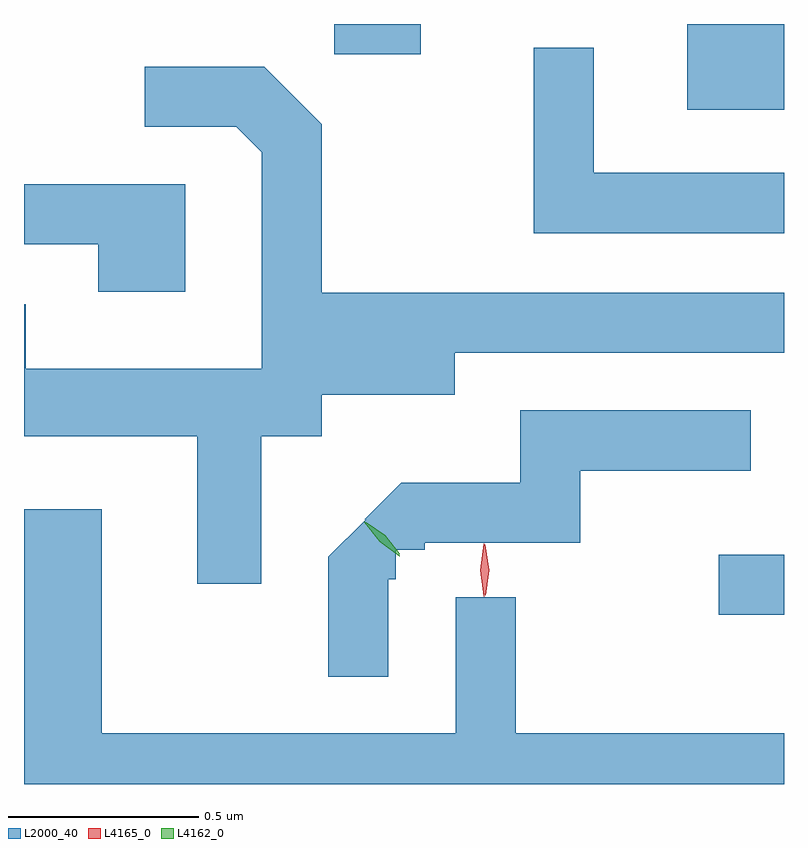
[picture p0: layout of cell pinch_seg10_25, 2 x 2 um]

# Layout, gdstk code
import gdstk
lib = gdstk.Library(unit=1e-6, precision=1e-09)
def R(c, l, rs):  # rectangles x0, y0, x1, y1
    for r in rs: c.add(gdstk.rectangle(r[:2], r[2:], *l))
def P(c, l, *ps):  # polygons
    for p in ps: c.add(gdstk.Polygon(p, *l))
L2000_40 = (2000, 40)
L4162_0 = (4162, 0)
L4165_0 = (4165, 0)

pinch_seg10_25 = lib.new_cell('pinch_seg10_25')
R(pinch_seg10_25, L2000_40, [(832.653,2165.556,832.825,2165.714), (832.571,2166.886,832.825,2167.111), (831.641,2167.031,831.869,2167.111)])
P(pinch_seg10_25, L2000_40, [(832.825,2166.719),(832.324,2166.719),(832.324,2167.048),(832.166,2167.048),(832.166,2166.561),(832.825,2166.561)],
  [(831.449,2166.026),(831.609,2166.026),(831.609,2166.136),(831.959,2166.136),(831.959,2166.246),(832.825,2166.246),(832.825,2166.404),(831.609,2166.404),(831.609,2166.847),(831.457,2166.999),(831.143,2166.999),(831.143,2166.841),(831.384,2166.841),(831.451,2166.774),(831.451,2166.204),(830.829,2166.204),(830.829,2166.374),(830.825,2166.374),(830.825,2166.026),(831.281,2166.026),(831.281,2165.638),(831.449,2165.638)],
  [(831.249,2166.689),(830.825,2166.689),(830.825,2166.531),(831.021,2166.531),(831.021,2166.406),(831.249,2166.406)],
  [(831.784,2165.65),(831.803,2165.65),(831.803,2165.728),(831.88,2165.728),(831.88,2165.746),(832.289,2165.746),(832.289,2165.936),(832.738,2165.936),(832.738,2166.094),(832.131,2166.094),(832.131,2165.904),(831.818,2165.904),(831.722,2165.808),(831.724,2165.807),(831.626,2165.709),(831.626,2165.393),(831.784,2165.393)],
  [(832.825,2165.244),(832.119,2165.244),(832.119,2165.603),(831.961,2165.603),(831.961,2165.244),(831.029,2165.244),(831.029,2165.834),(830.825,2165.834),(830.825,2165.111),(832.825,2165.111)])
P(pinch_seg10_25, L4162_0, [(831.813,2165.716),(831.763,2165.751),(831.725,2165.799),(831.725,2165.8),(831.726,2165.8),(831.776,2165.765),(831.814,2165.717),(831.814,2165.716)],
  [(831.813,2165.711),(831.761,2165.749),(831.721,2165.8),(831.721,2165.801),(831.722,2165.801),(831.774,2165.763),(831.814,2165.712),(831.814,2165.711)])
P(pinch_seg10_25, L4165_0, [(832.036,2165.604),(832.035,2165.605),(832.026,2165.674),(832.035,2165.743),(832.036,2165.743),(832.036,2165.743),(832.046,2165.674),(832.036,2165.605)],
  [(832.039,2165.608),(832.039,2165.608),(832.029,2165.674),(832.038,2165.74),(832.039,2165.741),(832.039,2165.74),(832.049,2165.674),(832.04,2165.608)])

lib.write_gds('pinch_seg10_25.gds')
